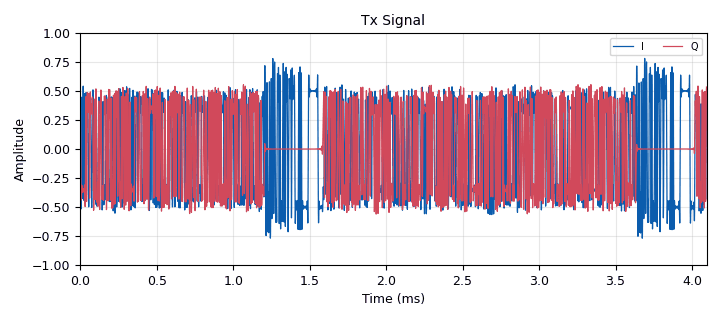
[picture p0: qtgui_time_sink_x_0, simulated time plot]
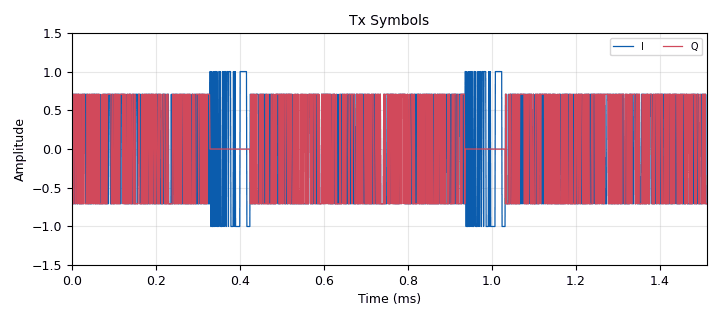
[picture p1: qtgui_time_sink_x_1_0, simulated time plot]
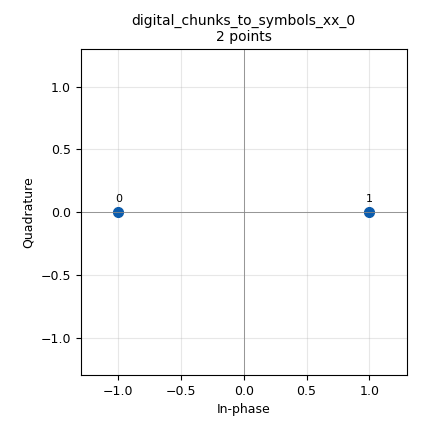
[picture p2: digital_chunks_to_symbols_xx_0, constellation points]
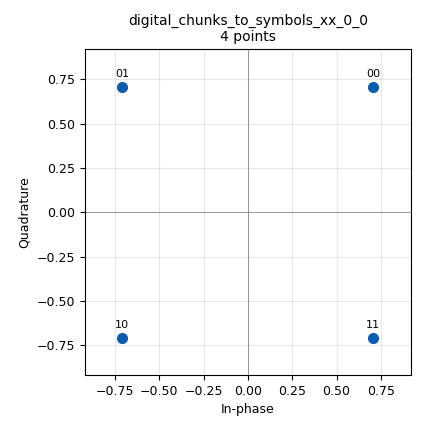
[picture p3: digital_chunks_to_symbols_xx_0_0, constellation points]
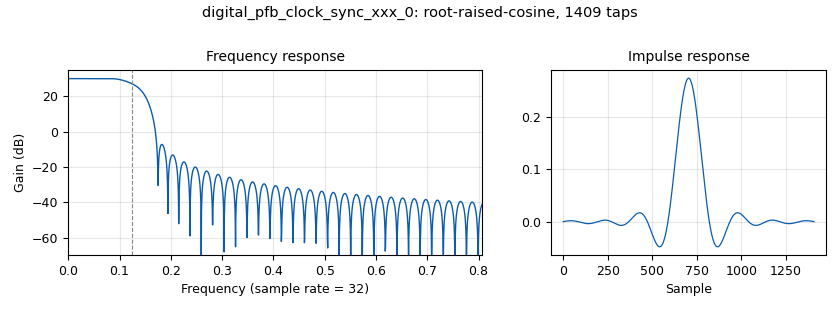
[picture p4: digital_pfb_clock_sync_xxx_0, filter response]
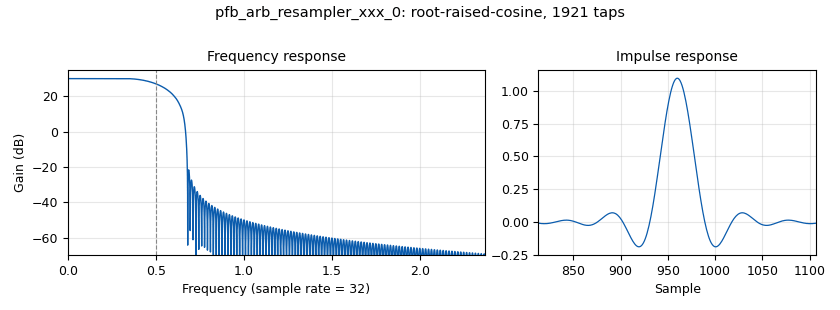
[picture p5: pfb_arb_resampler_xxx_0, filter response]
options:
  parameters:
    category: Custom
    generate_options: qt_gui
    id: Tx_Rx_Base
    output_language: python
    title: Tx_Rx_Base
  states: {}

blocks:
- name: d
  id: variable
  parameters:
    value: 1/(2**(1/2))
  states: {}
- name: dec_dummy
  id: variable_dummy_decoder_def
  parameters:
    framebits: 12*8
    ndim: '0'
  states: {}
- name: eb
  id: variable
  parameters:
    value: '0.35'
  states: {}
- name: filt_delay
  id: variable
  parameters:
    value: int(1+(taps_per_filt-1)//2)
  states: {}
- name: freq
  id: variable
  parameters:
    value: 800e6
  states: {}
- name: freq_offset
  id: variable_qtgui_range
  parameters:
    gui_hint: 'controls@0: 1,1,1,1'
    label: Frequency Offset
    start: '-0.1'
    step: '0.001'
    stop: '0.1'
    value: '0'
  states: {}
- name: gain_rx
  id: variable
  parameters:
    value: '30'
  states: {}
- name: gain_tx
  id: variable
  parameters:
    value: '30'
  states: {}
- name: mark_delay
  id: variable
  parameters:
    value: '104'
  states: {}
- name: modulated_sync_word
  id: variable_modulate_vector
  parameters:
    data: preamble
    mod: rxmod
    taps: '[1]'
  states: {}
- name: nfilts
  id: variable
  parameters:
    value: '32'
  states: {}
- name: noise_volt
  id: variable_qtgui_range
  parameters:
    gui_hint: 'controls@0: 1,0,1,1'
    label: Noise Voltage
    start: '0'
    step: '0.01'
    stop: '2'
    value: '0'
  states: {}
- name: pld_const
  id: variable_constellation_rect
  parameters:
    const_points: '[d+d*1j, -d+d*1j,-d-d*1j, d-d*1j]'
    imag_sect: '2'
    real_sect: '2'
    rot_sym: '4'
    sym_map: '[0, 1, 3, 2]'
    w_imag_sect: '1'
    w_real_sect: '1'
  states: {}
- name: preamble
  id: variable
  parameters:
    value: '[0xac, 0xdd, 0xa4, 0xe2, 0xf2, 0x8c, 0x20, 0xfc]'
  states: {}
- name: psf_taps
  id: variable_rrc_filter_taps
  parameters:
    alpha: eb
    gain: nfilts
    ntaps: 15*sps*nfilts
    samp_rate: nfilts
    sym_rate: '1.0'
  states: {}
- name: rrc_taps
  id: variable
  parameters:
    value: firdes.root_raised_cosine(nfilts, nfilts, 1.0/float(sps), eb, 11*sps*nfilts)
  states: {}
- name: rxmod
  id: variable
  parameters:
    value: digital.generic_mod(hdr_const, True, sps, True, eb, False, False)
  states: {}
- name: samp_rate
  id: variable
  parameters:
    value: 1e6
  states: {}
- name: sps
  id: variable
  parameters:
    value: '4'
  states: {}
- name: sps_pf
  id: variable
  parameters:
    value: '2'
  states: {}
- name: taps
  id: variable
  parameters:
    value: '[0.9,0,0,0,0.436]'
  states: {}
- name: taps_per_filt
  id: variable
  parameters:
    value: int(len(psf_taps)/nfilts)
  states: {}
- name: timing_loop_bw
  id: variable
  parameters:
    value: 6.28/200
  states: {}
- name: x
  id: variable_adaptive_algorithm
  parameters:
    cons: pld_const
    modulus: '1'
    step_size: '10e-6'
    type: cma
  states: {}
- name: TFMv5_crc32_check_1
  id: TFMv5_crc32_check
  parameters:
    npackets: '1000'
    r1: '0'
    r2: '0'
    r3: '0'
  states: {}
- name: TFMv5_energy_scale_0
  id: TFMv5_energy_scale
  parameters:
    eavg: '1'
    init_scale: '12'
    length: samp_rate
  states: {}
- name: analog_random_source_x_0
  id: analog_random_source_x
  parameters:
    max: '256'
    min: '0'
    num_samps: '10000000'
    repeat: 'True'
    type: byte
  states: {}
- name: blocks_message_debug_0
  id: blocks_message_debug
  parameters: {}
  states: {state: disabled}
- name: blocks_multiply_const_vxx_0
  id: blocks_multiply_const_vxx
  parameters:
    const: '0.5'
    type: complex
  states: {}
- name: blocks_repack_bits_bb_0
  id: blocks_repack_bits_bb
  parameters:
    endianness: gr.GR_MSB_FIRST
    k: '8'
    l: hdr_const.bits_per_symbol()
    len_tag_key: packet_len
  states: {}
- name: blocks_repack_bits_bb_0_0
  id: blocks_repack_bits_bb
  parameters:
    endianness: gr.GR_MSB_FIRST
    k: '8'
    l: pld_const.bits_per_symbol()
    len_tag_key: packet_len
  states: {}
- name: blocks_repack_bits_bb_0_1
  id: blocks_repack_bits_bb
  parameters:
    endianness: gr.GR_MSB_FIRST
    k: pld_const.bits_per_symbol()
    l: '8'
    len_tag_key: '"payload symbols"'
  states: {}
- name: blocks_stream_to_tagged_stream_0
  id: blocks_stream_to_tagged_stream
  parameters:
    len_tag_key: '"packet_len"'
    packet_len: '124'
    type: byte
  states: {}
- name: blocks_tag_gate_0_0
  id: blocks_tag_gate
  parameters:
    propagate_tags: 'False'
    single_key: '"time_est"'
    type: complex
  states: {}
- name: blocks_tagged_stream_multiply_length_0
  id: blocks_tagged_stream_multiply_length
  parameters:
    c: sps
    lengthtagname: packet_len
    type: complex
  states: {}
- name: blocks_tagged_stream_mux_0
  id: blocks_tagged_stream_mux
  parameters:
    lengthtagname: packet_len
    ninputs: '2'
    type: complex
  states: {}
- name: blocks_tagged_stream_to_pdu_0
  id: blocks_tagged_stream_to_pdu
  parameters:
    tag: '"payload symbols"'
    type: byte
  states: {}
- name: channels_channel_model_0
  id: channels_channel_model
  parameters:
    epsilon: '1'
    freq_offset: freq_offset
    noise_voltage: noise_volt
    seed: '0'
    taps: '1'
  states: {}
- name: controls
  id: qtgui_tab_widget
  parameters:
    gui_hint: 0,0,1,2
    label0: TX
    num_tabs: '1'
  states: {}
- name: digital_chunks_to_symbols_xx_0
  id: digital_chunks_to_symbols_xx
  parameters:
    dimension: '1'
    in_type: byte
    out_type: complex
    symbol_table: hdr_const.points()
  states: {}
- name: digital_chunks_to_symbols_xx_0_0
  id: digital_chunks_to_symbols_xx
  parameters:
    dimension: '1'
    in_type: byte
    out_type: complex
    symbol_table: pld_const.points()
  states: {}
- name: digital_cma_equalizer_cc_0_0_0
  id: digital_cma_equalizer_cc
  parameters:
    modulus: '1'
    mu: '10e-6'
    num_taps: '15'
    sps: '2'
  states: {}
- name: digital_constellation_decoder_cb_0_0
  id: digital_constellation_decoder_cb
  parameters:
    constellation: pld_const
  states: {}
- name: digital_constellation_soft_decoder_cf_0_0
  id: digital_constellation_soft_decoder_cf
  parameters:
    constellation: hdr_const
  states: {}
- name: digital_corr_est_cc_0
  id: digital_corr_est_cc
  parameters:
    mark_delay: mark_delay
    sps: sps
    symbols: modulated_sync_word
    threshold: '0.7'
    threshold_method: digital.THRESHOLD_ABSOLUTE
  states: {}
- name: digital_costas_loop_cc_0_0
  id: digital_costas_loop_cc
  parameters:
    order: hdr_const.arity()
    w: 6.28/100
  states: {}
- name: digital_costas_loop_cc_0_0_0
  id: digital_costas_loop_cc
  parameters:
    order: pld_const.arity()
    w: 6.28/100
  states: {}
- name: digital_crc32_bb_0
  id: digital_crc32_bb
  parameters:
    check: 'False'
    lengthtagname: '"packet_len"'
    packed: 'True'
  states: {}
- name: digital_diff_decoder_bb_0_0_0
  id: digital_diff_decoder_bb
  parameters:
    modulus: len(pld_const.points())
  states: {}
- name: digital_diff_decoder_bb_0_0_0_0
  id: digital_diff_decoder_bb
  parameters:
    modulus: len(hdr_const.points())
  states: {}
- name: digital_diff_encoder_bb_0
  id: digital_diff_encoder_bb
  parameters:
    modulus: len(hdr_const.points())
  states: {}
- name: digital_diff_encoder_bb_0_0
  id: digital_diff_encoder_bb
  parameters:
    modulus: len(pld_const.points())
  states: {}
- name: digital_fll_band_edge_cc_0
  id: digital_fll_band_edge_cc
  parameters:
    filter_size: '256'
    rolloff: eb
    samps_per_sym: sps
    type: cc
    w: '2e-3'
  states: {}
- name: digital_header_payload_demux_0
  id: digital_header_payload_demux
  parameters:
    header_len: (hdr_format.header_nbits() * int(1.0/hdr_dec.rate())) //  hdr_const.bits_per_symbol()
    header_padding: '0'
    items_per_symbol: '1'
    length_tag_key: '"payload symbols"'
    output_symbols: 'True'
    samp_rate: '1'
    special_tags: '[]'
    timing_tag_key: '"rx_time"'
    trigger_tag_key: '"amp_est"'
    type: complex
  states: {}
- name: digital_pfb_clock_sync_xxx_0
  id: digital_pfb_clock_sync_xxx
  parameters:
    filter_size: nfilts
    init_phase: nfilts/2
    loop_bw: timing_loop_bw*2
    max_dev: '1.5'
    osps: sps_pf
    sps: sps
    taps: rrc_taps
    type: ccf
  states: {}
- name: digital_protocol_formatter_bb_0
  id: digital_protocol_formatter_bb
  parameters:
    format: hdr_format
    len_tag_key: '"packet_len"'
  states: {}
- name: digital_protocol_parser_b_0
  id: digital_protocol_parser_b
  parameters:
    format: hdr_format
  states: {}
- name: fec_generic_decoder_0_0
  id: fec_generic_decoder
  parameters:
    decoder: dec_dummy
    itype: float
    otype: byte
  states: {}
- name: hdr_const
  id: parameter
  parameters:
    label: Header constellation
    value: digital.constellation_calcdist((digital.psk_2()[0]), (digital.psk_2()[1]), 2, 1).base()
  states: {}
- name: hdr_dec
  id: parameter
  parameters:
    label: Header FEC Decoder
    value: ' fec.dummy_decoder.make(8000)'
  states: {}
- name: hdr_format
  id: parameter
  parameters:
    label: Header Formatter
    value: digital.header_format_default(digital.packet_utils.default_access_code, 0,2)
  states: {}
- name: mod_header_0_0
  id: virtual_sink
  parameters:
    stream_id: Header
  states: {}
- name: mod_header_0_0_0
  id: virtual_sink
  parameters:
    stream_id: Payload
  states: {}
- name: pfb_arb_resampler_xxx_0
  id: pfb_arb_resampler_xxx
  parameters:
    atten: '100'
    nfilts: nfilts
    rrate: sps
    samp_delay: filt_delay
    taps: psf_taps
    type: ccf
  states: {}
- name: qtgui_const_sink_x_0
  id: qtgui_const_sink_x
  parameters:
    grid: 'True'
    gui_hint: 2,0,1,1
    label1: Const
    name: '"Header Constellation"'
    size: '128'
    type: complex
  states: {}
- name: qtgui_const_sink_x_0_0
  id: qtgui_const_sink_x
  parameters:
    grid: 'True'
    gui_hint: 2,1,1,1
    label1: Const
    name: '"Payload Constellation"'
    size: '1024'
    type: complex
  states: {}
- name: qtgui_time_sink_x_0
  id: qtgui_time_sink_x
  parameters:
    grid: 'True'
    gui_hint: 1,1,1,1
    label1: I
    label2: Q
    name: '"Tx Signal"'
    size: 1024*4
    srate: 1e6
    type: complex
  states: {}
- name: qtgui_time_sink_x_0_0
  id: qtgui_time_sink_x
  parameters:
    grid: 'True'
    gui_hint: 3,0,1,1
    label1: I
    label2: Q
    name: '"Polyphase Out"'
    size: 1024*4
    srate: 1e6
    type: complex
    ymax: '2'
    ymin: '-2'
  states: {}
- name: qtgui_time_sink_x_1_0
  id: qtgui_time_sink_x
  parameters:
    grid: 'True'
    gui_hint: 1,0,1,1
    label1: I
    label2: Q
    name: '"Tx Symbols"'
    size: '1512'
    srate: samp_rate
    type: complex
    ymax: '1.5'
    ymin: '-1.5'
  states: {}
- name: rx_mod_header_0_0
  id: virtual_source
  parameters:
    stream_id: Header
  states: {}
- name: rx_mod_header_0_1
  id: virtual_source
  parameters:
    stream_id: Payload
  states: {}
- name: uhd_usrp_sink_0
  id: uhd_usrp_sink
  parameters:
    ant0: '"TX/RX"'
    center_freq0: freq
    clock_rate: '0.0'
    dev_addr: '"serial=30F9A69"'
    dev_args: '""'
    gain0: gain_tx
    len_tag_name: ''
    samp_rate: samp_rate
    sync: sync
    type: fc32
  states: {}
- name: uhd_usrp_source_0
  id: uhd_usrp_source
  parameters:
    ant0: '"RX2"'
    center_freq0: freq
    clock_rate: '0.0'
    dc_offs_enb0: disabled
    dev_addr: '"serial=30F9A6B"'
    dev_args: '""'
    gain0: gain_rx
    iq_imbal_enb0: disabled
    samp_rate: samp_rate
    sync: none
    type: fc32
  states: {}
- name: virtual_sink_0
  id: virtual_sink
  parameters:
    stream_id: Header Bytes
  states: {}
- name: virtual_sink_0_0_0
  id: virtual_sink
  parameters:
    stream_id: Payload Bytes
  states: {}
- name: virtual_sink_0_1
  id: virtual_sink
  parameters:
    stream_id: Tx Symbols
  states: {}
- name: virtual_sink_1
  id: virtual_sink
  parameters:
    stream_id: Rx Symbols
  states: {}
- name: virtual_source_0
  id: virtual_source
  parameters:
    stream_id: Header Bytes
  states: {}
- name: virtual_source_0_0
  id: virtual_source
  parameters:
    stream_id: Payload Bytes
  states: {}
- name: virtual_source_0_1
  id: virtual_source
  parameters:
    stream_id: Tx Symbols
  states: {}
- name: virtual_source_1
  id: virtual_source
  parameters:
    stream_id: Rx Symbols
  states: {}

connections:
- [TFMv5_crc32_check_1, out, blocks_message_debug_0, print_pdu]
- [TFMv5_energy_scale_0, '0', digital_fll_band_edge_cc_0, '0']
- [analog_random_source_x_0, '0', blocks_stream_to_tagged_stream_0, '0']
- [blocks_multiply_const_vxx_0, '0', qtgui_time_sink_x_0, '0']
- [blocks_multiply_const_vxx_0, '0', uhd_usrp_sink_0, '0']
- [blocks_repack_bits_bb_0, '0', digital_diff_encoder_bb_0, '0']
- [blocks_repack_bits_bb_0_0, '0', digital_diff_encoder_bb_0_0, '0']
- [blocks_repack_bits_bb_0_1, '0', blocks_tagged_stream_to_pdu_0, '0']
- [blocks_stream_to_tagged_stream_0, '0', digital_crc32_bb_0, '0']
- [blocks_tag_gate_0_0, '0', digital_pfb_clock_sync_xxx_0, '0']
- [blocks_tagged_stream_multiply_length_0, '0', channels_channel_model_0, '0']
- [blocks_tagged_stream_mux_0, '0', qtgui_time_sink_x_1_0, '0']
- [blocks_tagged_stream_mux_0, '0', virtual_sink_0_1, '0']
- [blocks_tagged_stream_to_pdu_0, pdus, TFMv5_crc32_check_1, in]
- [channels_channel_model_0, '0', blocks_multiply_const_vxx_0, '0']
- [digital_chunks_to_symbols_xx_0, '0', blocks_tagged_stream_mux_0, '0']
- [digital_chunks_to_symbols_xx_0_0, '0', blocks_tagged_stream_mux_0, '1']
- [digital_cma_equalizer_cc_0_0_0, '0', virtual_sink_1, '0']
- [digital_constellation_decoder_cb_0_0, '0', digital_diff_decoder_bb_0_0_0, '0']
- [digital_constellation_soft_decoder_cf_0_0, '0', fec_generic_decoder_0_0, '0']
- [digital_corr_est_cc_0, '0', blocks_tag_gate_0_0, '0']
- [digital_costas_loop_cc_0_0, '0', digital_constellation_soft_decoder_cf_0_0, '0']
- [digital_costas_loop_cc_0_0, '0', qtgui_const_sink_x_0, '0']
- [digital_costas_loop_cc_0_0_0, '0', digital_constellation_decoder_cb_0_0, '0']
- [digital_costas_loop_cc_0_0_0, '0', qtgui_const_sink_x_0_0, '0']
- [digital_crc32_bb_0, '0', digital_protocol_formatter_bb_0, '0']
- [digital_crc32_bb_0, '0', virtual_sink_0_0_0, '0']
- [digital_diff_decoder_bb_0_0_0, '0', blocks_repack_bits_bb_0_1, '0']
- [digital_diff_decoder_bb_0_0_0_0, '0', digital_protocol_parser_b_0, '0']
- [digital_diff_encoder_bb_0, '0', digital_chunks_to_symbols_xx_0, '0']
- [digital_diff_encoder_bb_0_0, '0', digital_chunks_to_symbols_xx_0_0, '0']
- [digital_fll_band_edge_cc_0, '0', digital_corr_est_cc_0, '0']
- [digital_header_payload_demux_0, '0', mod_header_0_0, '0']
- [digital_header_payload_demux_0, '1', mod_header_0_0_0, '0']
- [digital_pfb_clock_sync_xxx_0, '0', digital_cma_equalizer_cc_0_0_0, '0']
- [digital_pfb_clock_sync_xxx_0, '0', qtgui_time_sink_x_0_0, '0']
- [digital_protocol_formatter_bb_0, '0', virtual_sink_0, '0']
- [digital_protocol_parser_b_0, info, digital_header_payload_demux_0, header_data]
- [fec_generic_decoder_0_0, '0', digital_diff_decoder_bb_0_0_0_0, '0']
- [pfb_arb_resampler_xxx_0, '0', blocks_tagged_stream_multiply_length_0, '0']
- [rx_mod_header_0_0, '0', digital_costas_loop_cc_0_0, '0']
- [rx_mod_header_0_1, '0', digital_costas_loop_cc_0_0_0, '0']
- [uhd_usrp_source_0, '0', TFMv5_energy_scale_0, '0']
- [virtual_source_0, '0', blocks_repack_bits_bb_0, '0']
- [virtual_source_0_0, '0', blocks_repack_bits_bb_0_0, '0']
- [virtual_source_0_1, '0', pfb_arb_resampler_xxx_0, '0']
- [virtual_source_1, '0', digital_header_payload_demux_0, '0']

metadata:
  file_format: 1
